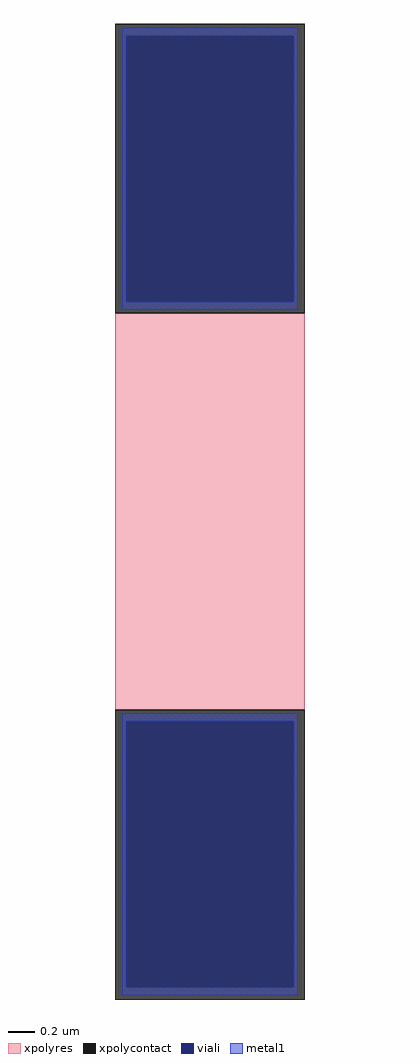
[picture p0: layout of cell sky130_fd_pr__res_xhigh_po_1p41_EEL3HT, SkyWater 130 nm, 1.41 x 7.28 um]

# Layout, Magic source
magic
tech sky130A
magscale 1 2
<< xpolycontact >>
rect -141 296 141 728
rect -141 -728 141 -296
<< xpolyres >>
rect -141 -296 141 296
<< viali >>
rect -125 313 125 710
rect -125 -710 125 -313
<< metal1 >>
rect -131 710 131 722
rect -131 313 -125 710
rect 125 313 131 710
rect -131 301 131 313
rect -131 -313 131 -301
rect -131 -710 -125 -313
rect 125 -710 131 -313
rect -131 -722 131 -710
<< properties >>
string gencell sky130_fd_pr__res_xhigh_po_1p41
string library sky130
string parameters w 1.410 l 3.116 m 1 nx 1 wmin 1.410 lmin 0.50 rho 2000 val 4.686k dummy 0 dw 0.0 term 188.2 sterm 0.0 caplen 0 wmax 1.410 guard 0 glc 1 grc 1 gtc 1 gbc 1 compatible {sky130_fd_pr__res_xhigh_po_0p35  sky130_fd_pr__res_xhigh_po_0p69 sky130_fd_pr__res_xhigh_po_1p41  sky130_fd_pr__res_xhigh_po_2p85 sky130_fd_pr__res_xhigh_po_5p73} snake 0 full_metal 1 n_guard 0 hv_guard 0 vias 1 viagb 0 viagt 0 viagl 0 viagr 0
<< end >>
